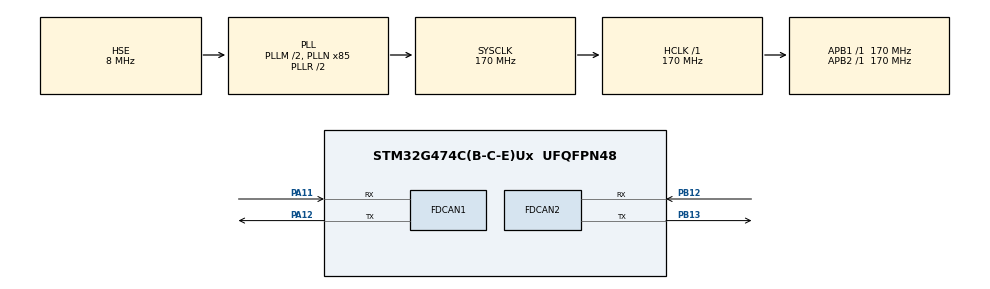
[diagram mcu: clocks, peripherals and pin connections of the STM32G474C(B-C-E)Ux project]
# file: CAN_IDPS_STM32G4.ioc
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FDCAN1.CalculateBaudRateNominal=499999
FDCAN1.CalculateTimeBitNominal=2000
FDCAN1.CalculateTimeQuantumNominal=117.64705882352942
FDCAN1.DataTimeSeg1=13
FDCAN1.DataTimeSeg2=3
FDCAN1.NominalPrescaler=10
FDCAN1.NominalSyncJumpWidth=3
FDCAN1.NominalTimeSeg1=13
FDCAN1.NominalTimeSeg2=3
FDCAN1.StdFiltersNbr=1
FDCAN1.TxFifoQueueMode=FDCAN_TX_FIFO_OPERATION
FDCAN2.CalculateBaudRateNominal=499999
FDCAN2.CalculateTimeBitNominal=2000
FDCAN2.CalculateTimeQuantumNominal=117.64705882352942
FDCAN2.NominalPrescaler=10
FDCAN2.NominalTimeSeg1=13
FDCAN2.NominalTimeSeg2=3
Mcu.Family=STM32G4
Mcu.Name=STM32G474C(B-C-E)Ux
Mcu.Package=UFQFPN48
NVIC.FDCAN1_IT0_IRQn=true\:0\:0\:false\:false\:true\:true\:true\:true
NVIC.PriorityGroup=NVIC_PRIORITYGROUP_4
PA11.Mode=FDCAN_Activate
PA11.Signal=FDCAN1_RX
PA12.Mode=FDCAN_Activate
PA12.Signal=FDCAN1_TX
PA13.Mode=Serial_Wire
PA13.Signal=SYS_JTMS-SWDIO
PA14.Mode=Serial_Wire
PA14.Signal=SYS_JTCK-SWCLK
PB12.Mode=FDCAN_Activate
PB12.Signal=FDCAN2_RX
PB13.Mode=FDCAN_Activate
PB13.Signal=FDCAN2_TX
PF0-OSC_IN.Mode=HSE-External-Oscillator
PF0-OSC_IN.Signal=RCC_OSC_IN
PF1-OSC_OUT.Mode=HSE-External-Oscillator
PF1-OSC_OUT.Signal=RCC_OSC_OUT
ProjectManager.HeapSize=0x800
ProjectManager.StackSize=0x800
ProjectManager.TargetToolchain=STM32CubeIDE
RCC.ADC12Freq_Value=170000000
RCC.ADC345Freq_Value=170000000
RCC.AHBFreq_Value=170000000
RCC.APB1Freq_Value=170000000
RCC.APB1TimFreq_Value=170000000
RCC.APB2Freq_Value=170000000
RCC.APB2TimFreq_Value=170000000
RCC.CortexFreq_Value=170000000
RCC.EXTERNAL_CLOCK_VALUE=12288000
RCC.FDCANCLockSelection=RCC_FDCANCLKSOURCE_PLL
RCC.HCLKFreq_Value=170000000
RCC.HSE_VALUE=8000000
RCC.HSI48_VALUE=48000000
RCC.HSI_VALUE=16000000
RCC.LSE_VALUE=32768
RCC.PLLM=RCC_PLLM_DIV2
RCC.PLLN=85
RCC.PLLQ=RCC_PLLQ_DIV4
RCC.PLLSourceVirtual=RCC_PLLSOURCE_HSE
RCC.SYSCLKFreq_VALUE=170000000
RCC.SYSCLKSource=RCC_SYSCLKSOURCE_PLLCLK
RCC.USBFreq_Value=85000000
RCC.VCOOutputFreq_Value=340000000
STMicroelectronics.X-CUBE-AI.10.2.1.ActivationBufferSizeList=2200
STMicroelectronics.X-CUBE-AI.10.2.1.ActivationBuffers=pool0
STMicroelectronics.X-CUBE-AI.10.2.1.ActivationNames=pool0
STMicroelectronics.X-CUBE-AI.10.2.1.ActivationSizes=AI_CAN_IDPS_NET_DATA_ACTIVATION_1_SIZE
STMicroelectronics.X-CUBE-AI.10.2.1.HeapSize=0x800
STMicroelectronics.X-CUBE-AI.10.2.1.InternalRamActivationBufferMaxSize=AI_CAN_IDPS_NET_DATA_ACTIVATIONS_SIZE
STMicroelectronics.X-CUBE-AI.10.2.1.LatestDirectoryUsed-14fc14a967eb6939f3ab6e67eab63f4f0dae5c693d0c5f618a41ffe6eda5fd8d=C\:\\Users\\anhtu\\Downloads
STMicroelectronics.X-CUBE-AI.10.2.1.MaximumNumberOfInputLayer=1
STMicroelectronics.X-CUBE-AI.10.2.1.MaximumNumberOfOutputLayer=1
STMicroelectronics.X-CUBE-AI.10.2.1.MaximumSizeOfInputLayer=1
STMicroelectronics.X-CUBE-AI.10.2.1.MaximumSizeOfOutputLayer=1
STMicroelectronics.X-CUBE-AI.10.2.1.ModelActualCompression-14fc14a967eb6939f3ab6e67eab63f4f0dae5c693d0c5f618a41ffe6eda5fd8d=0.0
STMicroelectronics.X-CUBE-AI.10.2.1.ModelCompression-14fc14a967eb6939f3ab6e67eab63f4f0dae5c693d0c5f618a41ffe6eda5fd8d=None
STMicroelectronics.X-CUBE-AI.10.2.1.ModelFlashOccupation-14fc14a967eb6939f3ab6e67eab63f4f0dae5c693d0c5f618a41ffe6eda5fd8d=14009
STMicroelectronics.X-CUBE-AI.10.2.1.ModelHashList=14fc14a967eb6939f3ab6e67eab63f4f0dae5c693d0c5f618a41ffe6eda5fd8d
STMicroelectronics.X-CUBE-AI.10.2.1.ModelKind-14fc14a967eb6939f3ab6e67eab63f4f0dae5c693d0c5f618a41ffe6eda5fd8d=TFLITE
STMicroelectronics.X-CUBE-AI.10.2.1.ModelMacc-14fc14a967eb6939f3ab6e67eab63f4f0dae5c693d0c5f618a41ffe6eda5fd8d=424
STMicroelectronics.X-CUBE-AI.10.2.1.ModelName-14fc14a967eb6939f3ab6e67eab63f4f0dae5c693d0c5f618a41ffe6eda5fd8d=can_idps_net
STMicroelectronics.X-CUBE-AI.10.2.1.ModelNameList=can_idps_net
STMicroelectronics.X-CUBE-AI.10.2.1.ModelRamOccupation-14fc14a967eb6939f3ab6e67eab63f4f0dae5c693d0c5f618a41ffe6eda5fd8d=2200
STMicroelectronics.X-CUBE-AI.10.2.1.ModelStructureFile-14fc14a967eb6939f3ab6e67eab63f4f0dae5c693d0c5f618a41ffe6eda5fd8d=/C\:/Users/anhtu/Downloads/can_idps_int8.tflite
STMicroelectronics.X-CUBE-AI.10.2.1.ModelType-14fc14a967eb6939f3ab6e67eab63f4f0dae5c693d0c5f618a41ffe6eda5fd8d=STM32Cube.AI MCU runtime
STMicroelectronics.X-CUBE-AI.10.2.1.ReadyForCodeGeneration=true
STMicroelectronics.X-CUBE-AI.10.2.1.StackSize=0x800
STMicroelectronics.X-CUBE-AI.10.2.1.WorkingBufferStartAddrList=0xFFFFFFFF
STMicroelectronics.X-CUBE-AI.10.2.1.XAaCUBEAaAICcArtificialOoIntelligenceJjCore=true
STMicroelectronics.X-CUBE-AI.10.2.1.copyWeightToRam=false
STMicroelectronics.X-CUBE-AI.10.2.1.customLayerConfigEnabled=false
STMicroelectronics.X-CUBE-AI.10.2.1.noOnnxIoTranspose=false
STMicroelectronics.X-CUBE-AI.10.2.1.useInputAllocation=true
STMicroelectronics.X-CUBE-AI.10.2.1.useOutputAllocation=true
TIM2.AutoReloadPreload=TIM_AUTORELOAD_PRELOAD_ENABLE
TIM2.Prescaler=169
VP_STMicroelectronics.X-CUBE-AI_VS_ArtificialOoIntelligenceJjXAaCUBEAaAI_10.2.1.Mode=ArtificialOoIntelligenceJjXAaCUBEAaAI
VP_SYS_VS_DBSignals.Mode=DisableDeadBatterySignals
VP_TIM2_VS_ClockSourceINT.Mode=Internal
board=custom

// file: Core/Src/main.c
/* USER CODE BEGIN Header */
/**
  ******************************************************************************
  * @file           : main.c
  * @brief          : Main program body
  ******************************************************************************
  * @attention
  *
  * Copyright (c) 2026 STMicroelectronics.
  * All rights reserved.
  *
  * This software is licensed under terms that can be found in the LICENSE file
  * in the root directory of this software component.
  * If no LICENSE file comes with this software, it is provided AS-IS.
  *
  ******************************************************************************
  */
/* USER CODE END Header */
#include "main.h"
#include "fdcan.h"
#include "tim.h"
#include "gpio.h"

/* USER CODE BEGIN Includes */
#include "can_idps_processor.h"
#include "can_idps_net.h"
#include "can_idps_net_data.h"
#include <string.h>
/* USER CODE END Includes */

/* USER CODE BEGIN PV */
// Bộ đệm cho X-CUBE-AI
static ai_handle network = AI_HANDLE_NULL;
__attribute__((aligned(4))) static ai_u8 activations[AI_CAN_IDPS_NET_DATA_ACTIVATIONS_SIZE];
__attribute__((aligned(4))) static ai_i8 in_data[AI_CAN_IDPS_NET_IN_1_SIZE];
__attribute__((aligned(4))) static ai_i8 out_data[AI_CAN_IDPS_NET_OUT_1_SIZE];

static ai_buffer ai_input[AI_CAN_IDPS_NET_IN_NUM];
static ai_buffer ai_output[AI_CAN_IDPS_NET_OUT_NUM];

// Thống kê Gateway phục vụ đánh giá NCKH
typedef struct {
    uint32_t total_rx;
    uint32_t forwarded;
    uint32_t dropped;
    uint32_t infer_cycles;
} GatewayMetrics_t;

volatile GatewayMetrics_t gw_metrics = {0};
/* USER CODE END PV */

void SystemClock_Config(void);

int main(void)
{

  /* MCU Configuration--------------------------------------------------------*/

  /* Reset of all peripherals, Initializes the Flash interface and the Systick. */
  HAL_Init();

  /* Configure the system clock */
  SystemClock_Config();

  /* Initialize all configured peripherals */
  MX_GPIO_Init();
  MX_FDCAN1_Init();
  MX_FDCAN2_Init();
  MX_TIM2_Init();
  /* USER CODE BEGIN 2 */
    // 1. Kích hoạt bộ đếm chu kỳ CPU Cortex-M4 (DWT Cycle Counter)
    CoreDebug->DEMCR |= CoreDebug_DEMCR_TRCENA_Msk;
    DWT->CTRL |= DWT_CTRL_CYCCNTENA_Msk;

    // 2. Khởi tạo module trích xuất đặc trưng
    CAN_IDPS_Init();

    // 3. Khởi tạo mạng X-CUBE-AI
    const ai_handle acts[] = { activations };
    ai_can_idps_net_create(&network, AI_CAN_IDPS_NET_DATA_CONFIG);
    ai_network_params ai_params = {
        AI_CAN_IDPS_NET_DATA_WEIGHTS(ai_can_idps_net_data_weights_get()),
        AI_CAN_IDPS_NET_DATA_ACTIVATIONS(acts)
    };
    ai_can_idps_net_init(network, &ai_params);

    ai_input[0] = ai_can_idps_net_inputs_get(network, NULL)[0];
    ai_output[0] = ai_can_idps_net_outputs_get(network, NULL)[0];
    ai_input[0].data = AI_HANDLE_PTR(in_data);
    ai_output[0].data = AI_HANDLE_PTR(out_data);

    // 4. Bật TIM2 đếm microsecond (1 tick = 1us)
    HAL_TIM_Base_Start(&htim2);

    // 5. Cấu hình Filter cho FDCAN1: Chấp nhận toàn bộ frame vào Rx FIFO 0
    FDCAN_FilterTypeDef sFilterConfig;
    sFilterConfig.IdType = FDCAN_STANDARD_ID;
    sFilterConfig.FilterIndex = 0;
    sFilterConfig.FilterType = FDCAN_FILTER_MASK;
    sFilterConfig.FilterConfig = FDCAN_FILTER_TO_RXFIFO0;
    sFilterConfig.FilterID1 = 0x000;
    sFilterConfig.FilterID2 = 0x000;
    HAL_FDCAN_ConfigFilter(&hfdcan1, &sFilterConfig);
    HAL_FDCAN_ConfigGlobalFilter(&hfdcan1, FDCAN_ACCEPT_IN_RX_FIFO0, FDCAN_ACCEPT_IN_RX_FIFO0, FDCAN_FILTER_REMOTE, FDCAN_FILTER_REMOTE);

    // 6. Kích hoạt ngắt nhận tin nhắn mới trên FDCAN1
    HAL_FDCAN_ActivateNotification(&hfdcan1, FDCAN_IT_RX_FIFO0_NEW_MESSAGE, 0);

    // 7. Kích hoạt 2 kênh CAN hoạt động
    HAL_FDCAN_Start(&hfdcan1);
    HAL_FDCAN_Start(&hfdcan2);
  /* USER CODE END 2 */

  /* Infinite loop */
  while (1)
  {

  }
}

void SystemClock_Config(void)
{
  RCC_OscInitTypeDef RCC_OscInitStruct = {0};
  RCC_ClkInitTypeDef RCC_ClkInitStruct = {0};

  /** Configure the main internal regulator output voltage
  */
  HAL_PWREx_ControlVoltageScaling(PWR_REGULATOR_VOLTAGE_SCALE1_BOOST);

  /** Initializes the RCC Oscillators according to the specified parameters
  * in the RCC_OscInitTypeDef structure.
  */
  RCC_OscInitStruct.OscillatorType = RCC_OSCILLATORTYPE_HSE;
  RCC_OscInitStruct.HSEState = RCC_HSE_ON;
  RCC_OscInitStruct.PLL.PLLState = RCC_PLL_ON;
  RCC_OscInitStruct.PLL.PLLSource = RCC_PLLSOURCE_HSE;
  RCC_OscInitStruct.PLL.PLLM = RCC_PLLM_DIV2;
  RCC_OscInitStruct.PLL.PLLN = 85;
  RCC_OscInitStruct.PLL.PLLP = RCC_PLLP_DIV2;
  RCC_OscInitStruct.PLL.PLLQ = RCC_PLLQ_DIV4;
  RCC_OscInitStruct.PLL.PLLR = RCC_PLLR_DIV2;
  if (HAL_RCC_OscConfig(&RCC_OscInitStruct) != HAL_OK)
  {
    Error_Handler();
  }

  /** Initializes the CPU, AHB and APB buses clocks
  */
  RCC_ClkInitStruct.ClockType = RCC_CLOCKTYPE_HCLK|RCC_CLOCKTYPE_SYSCLK
                              |RCC_CLOCKTYPE_PCLK1|RCC_CLOCKTYPE_PCLK2;
  RCC_ClkInitStruct.SYSCLKSource = RCC_SYSCLKSOURCE_PLLCLK;
  RCC_ClkInitStruct.AHBCLKDivider = RCC_SYSCLK_DIV1;
  RCC_ClkInitStruct.APB1CLKDivider = RCC_HCLK_DIV1;
  RCC_ClkInitStruct.APB2CLKDivider = RCC_HCLK_DIV1;

  if (HAL_RCC_ClockConfig(&RCC_ClkInitStruct, FLASH_LATENCY_4) != HAL_OK)
  {
    Error_Handler();
  }
}

/* USER CODE BEGIN 4 */
// Hàm forward frame an toàn sang FDCAN2
static inline void Forward_Frame(FDCAN_RxHeaderTypeDef *rx_hdr, uint8_t *payload) {
    FDCAN_TxHeaderTypeDef tx_hdr;
    tx_hdr.Identifier          = rx_hdr->Identifier;
    tx_hdr.IdType              = rx_hdr->IdType;
    tx_hdr.TxFrameType         = rx_hdr->RxFrameType;
    tx_hdr.DataLength          = rx_hdr->DataLength;
    tx_hdr.ErrorStateIndicator = rx_hdr->ErrorStateIndicator;
    tx_hdr.BitRateSwitch       = rx_hdr->BitRateSwitch;
    tx_hdr.FDFormat            = rx_hdr->FDFormat;
    tx_hdr.TxEventFifoControl  = FDCAN_NO_TX_EVENTS;
    tx_hdr.MessageMarker       = 0;

    HAL_FDCAN_AddMessageToTxFifoQ(&hfdcan2, &tx_hdr, payload);
}

// Callback ngắt phần cứng khi có frame CAN đến Rx FIFO 0 của FDCAN1
void HAL_FDCAN_RxFifo0Callback(FDCAN_HandleTypeDef *hfdcan, uint32_t RxFifo0ITs) {
    if ((RxFifo0ITs & FDCAN_IT_RX_FIFO0_NEW_MESSAGE) != 0) {
        uint32_t t_now_us = TIM2->CNT;
        FDCAN_RxHeaderTypeDef rx_header;
        uint8_t rx_data[8];

        if (HAL_FDCAN_GetRxMessage(hfdcan, FDCAN_RX_FIFO0, &rx_header, rx_data) != HAL_OK) {
            return;
        }

        gw_metrics.total_rx++;

        // 1. Trích xuất đặc trưng
        int8_t features[FEATURE_VECTOR_SIZE];
        CAN_IDPS_ExtractFeatures(rx_header.Identifier, rx_header.DataLength >> 16, rx_data, t_now_us, features);

        // 2. Chạy suy luận TinyML INT8
        memcpy(in_data, features, sizeof(features));

        uint32_t t_start = DWT->CYCCNT;
        ai_can_idps_net_run(network, ai_input, ai_output);
        gw_metrics.infer_cycles = DWT->CYCCNT - t_start;

        // 3. Phân loại (Argmax)
        int8_t max_score = out_data[0];
        uint8_t pred_label = 0;
        for (int i = 1; i < 4; i++) {
            if (out_data[i] > max_score) {
                max_score = out_data[i];
                pred_label = i;
            }
        }

        // 4. Quyết định Gateway Inline
        if (pred_label == CLASS_NORMAL) {
            Forward_Frame(&rx_header, rx_data);
            gw_metrics.forwarded++;
        } else {
            // Drop frame nếu phát hiện tấn công
            gw_metrics.dropped++;
        }
    }
}
/* USER CODE END 4 */

void Error_Handler(void)
{
  __disable_irq();
  while (1)
  {
  }
}
